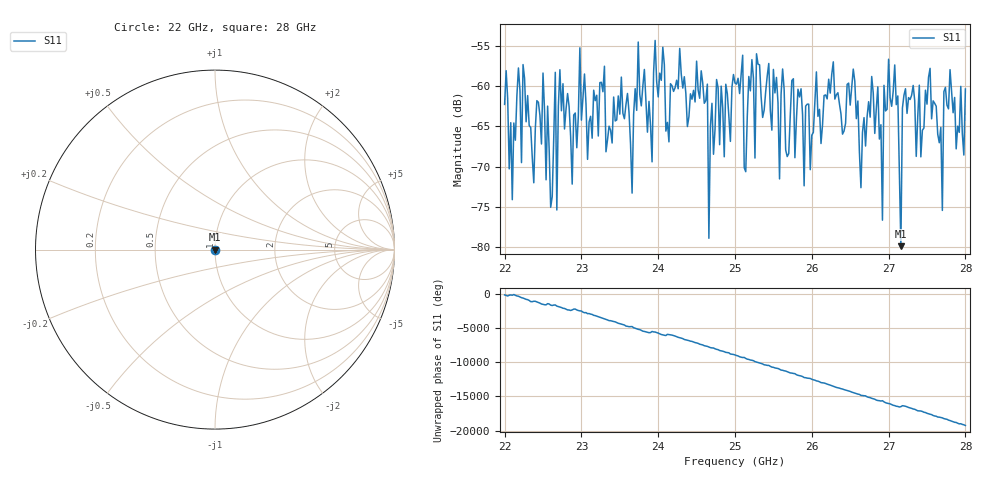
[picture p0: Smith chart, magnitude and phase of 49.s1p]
#  HZ  S  RI  R  50.00
! Rohde & Schwarz ZVA40 4Ports - Version 3.90 - 1145.1110k42 SN: 100403
! Date: 2023-10-04 06:40:53
! Measurement: S12
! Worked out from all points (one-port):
!   301 points, 22 GHz to 28 GHz, reference 50 ohm
!   lowest |S11| = -79.9 dB at 27.16 GHz (marker M1), VSWR 1.00, Z = 50 + j0.00906 ohm
!   |S11| at or under -10 dB: start of sweep to end of sweep
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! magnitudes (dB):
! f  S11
! 22 GHz  -62.3
! 22.38 GHz  -72.0
! 22.5 GHz  -58.4
! 22.6 GHz  -75.0
! 22.66 GHz  -58.3
! 22.68 GHz  -75.4
! 22.76 GHz  -59.7
! 23.5 GHz  -63.5
! 24.26 GHz  -60.3
! 24.64 GHz  -59.8
! 24.66 GHz  -78.9
! 24.7 GHz  -62.1
! 25 GHz  -59.6
! 25.58 GHz  -71.5
! 25.76 GHz  -59.1
! 25.9 GHz  -72.4
! 26.5 GHz  -62.4
! 26.86 GHz  -60.1
! 26.92 GHz  -76.6
! 26.94 GHz  -59.9
! 27.08 GHz  -57.4
! 27.16 GHz  -79.9
! 27.18 GHz  -62.7
! 27.26 GHz  -61.4
! 27.54 GHz  -57.8
! 27.7 GHz  -75.4
! 27.72 GHz  -60.7
! 28 GHz  -60.4
